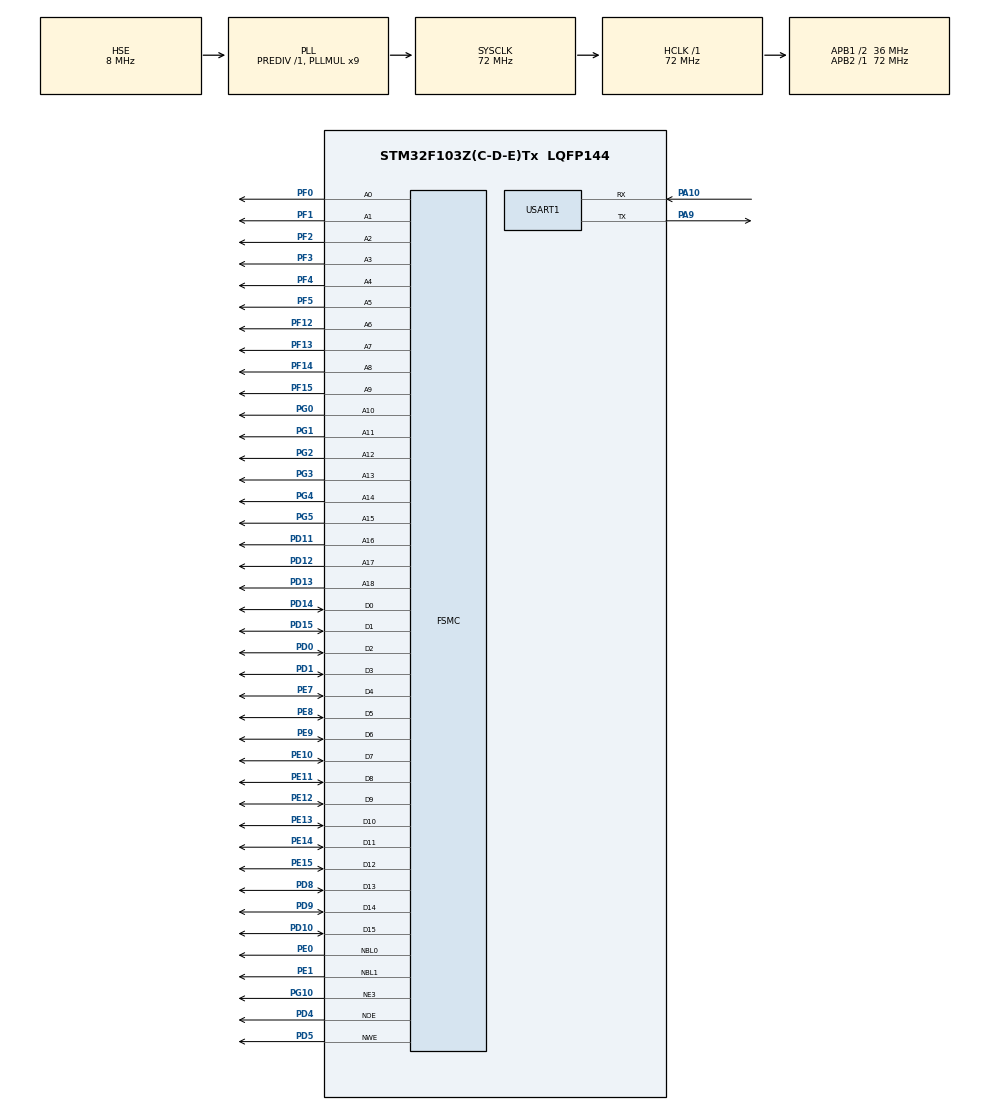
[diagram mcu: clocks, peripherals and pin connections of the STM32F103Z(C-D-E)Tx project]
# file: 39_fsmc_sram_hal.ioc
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FSMC.AddressSetupTime1=0
FSMC.BusTurnAroundDuration1=0
FSMC.DataSetupTime1=71
FSMC.WriteOperation1=FSMC_WRITE_OPERATION_ENABLE
Mcu.Family=STM32F1
Mcu.Name=STM32F103Z(C-D-E)Tx
Mcu.Package=LQFP144
NVIC.PriorityGroup=NVIC_PRIORITYGROUP_4
OSC_IN.Mode=HSE-External-Oscillator
OSC_IN.Signal=RCC_OSC_IN
OSC_OUT.Mode=HSE-External-Oscillator
OSC_OUT.Signal=RCC_OSC_OUT
PA10.Mode=Asynchronous
PA10.Signal=USART1_RX
PA13.Mode=Serial_Wire
PA13.Signal=SYS_JTMS-SWDIO
PA14.Mode=Serial_Wire
PA14.Signal=SYS_JTCK-SWCLK
PA9.Mode=Asynchronous
PA9.Signal=USART1_TX
PC14-OSC32_IN.Mode=LSE-External-Oscillator
PC14-OSC32_IN.Signal=RCC_OSC32_IN
PC15-OSC32_OUT.Mode=LSE-External-Oscillator
PC15-OSC32_OUT.Signal=RCC_OSC32_OUT
PD0.Signal=FSMC_D2_DA2
PD1.Signal=FSMC_D3_DA3
PD10.Signal=FSMC_D15_DA15
PD11.Signal=FSMC_A16_CLE
PD12.Signal=FSMC_A17_ALE
PD13.Signal=FSMC_A18
PD14.Signal=FSMC_D0_DA0
PD15.Signal=FSMC_D1_DA1
PD4.Signal=FSMC_NOE
PD5.Signal=FSMC_NWE
PD8.Signal=FSMC_D13_DA13
PD9.Signal=FSMC_D14_DA14
PE0.Signal=FSMC_NBL0
PE1.Signal=FSMC_NBL1
PE10.Signal=FSMC_D7_DA7
PE11.Signal=FSMC_D8_DA8
PE12.Signal=FSMC_D9_DA9
PE13.Signal=FSMC_D10_DA10
PE14.Signal=FSMC_D11_DA11
PE15.Signal=FSMC_D12_DA12
PE7.Signal=FSMC_D4_DA4
PE8.Signal=FSMC_D5_DA5
PE9.Signal=FSMC_D6_DA6
PF0.Signal=FSMC_A0
PF1.Signal=FSMC_A1
PF12.Signal=FSMC_A6
PF13.Signal=FSMC_A7
PF14.Signal=FSMC_A8
PF15.Signal=FSMC_A9
PF2.Signal=FSMC_A2
PF3.Signal=FSMC_A3
PF4.Signal=FSMC_A4
PF5.Signal=FSMC_A5
PG0.Signal=FSMC_A10
PG1.Signal=FSMC_A11
PG10.Mode=NorPsramChipSelect3_1
PG10.Signal=FSMC_NE3
PG2.Signal=FSMC_A12
PG3.Signal=FSMC_A13
PG4.Signal=FSMC_A14
PG5.Signal=FSMC_A15
ProjectManager.HeapSize=0x200
ProjectManager.StackSize=0x400
ProjectManager.TargetToolchain=MDK-ARM V5.32
RCC.AHBFreq_Value=72000000
RCC.APB1CLKDivider=RCC_HCLK_DIV2
RCC.APB1Freq_Value=36000000
RCC.APB1TimFreq_Value=72000000
RCC.APB2Freq_Value=72000000
RCC.APB2TimFreq_Value=72000000
RCC.HCLKFreq_Value=72000000
RCC.PLLMUL=RCC_PLL_MUL9
RCC.PLLSourceVirtual=RCC_PLLSOURCE_HSE
RCC.SYSCLKFreq_VALUE=72000000
RCC.SYSCLKSource=RCC_SYSCLKSOURCE_PLLCLK
RCC.USBFreq_Value=72000000
SH.FSMC_A0.0=FSMC_A0,19b-a1
SH.FSMC_A1.0=FSMC_A1,19b-a1
SH.FSMC_A10.0=FSMC_A10,19b-a1
SH.FSMC_A11.0=FSMC_A11,19b-a1
SH.FSMC_A12.0=FSMC_A12,19b-a1
SH.FSMC_A13.0=FSMC_A13,19b-a1
SH.FSMC_A14.0=FSMC_A14,19b-a1
SH.FSMC_A15.0=FSMC_A15,19b-a1
SH.FSMC_A16_CLE.0=FSMC_A16,19b-a1
SH.FSMC_A17_ALE.0=FSMC_A17,19b-a1
SH.FSMC_A18.0=FSMC_A18,19b-a1
SH.FSMC_A2.0=FSMC_A2,19b-a1
SH.FSMC_A3.0=FSMC_A3,19b-a1
SH.FSMC_A4.0=FSMC_A4,19b-a1
SH.FSMC_A5.0=FSMC_A5,19b-a1
SH.FSMC_A6.0=FSMC_A6,19b-a1
SH.FSMC_A7.0=FSMC_A7,19b-a1
SH.FSMC_A8.0=FSMC_A8,19b-a1
SH.FSMC_A9.0=FSMC_A9,19b-a1
SH.FSMC_D0_DA0.0=FSMC_D0,16b-d1
SH.FSMC_D10_DA10.0=FSMC_D10,16b-d1
SH.FSMC_D11_DA11.0=FSMC_D11,16b-d1
SH.FSMC_D12_DA12.0=FSMC_D12,16b-d1
SH.FSMC_D13_DA13.0=FSMC_D13,16b-d1
SH.FSMC_D14_DA14.0=FSMC_D14,16b-d1
SH.FSMC_D15_DA15.0=FSMC_D15,16b-d1
SH.FSMC_D1_DA1.0=FSMC_D1,16b-d1
SH.FSMC_D2_DA2.0=FSMC_D2,16b-d1
SH.FSMC_D3_DA3.0=FSMC_D3,16b-d1
SH.FSMC_D4_DA4.0=FSMC_D4,16b-d1
SH.FSMC_D5_DA5.0=FSMC_D5,16b-d1
SH.FSMC_D6_DA6.0=FSMC_D6,16b-d1
SH.FSMC_D7_DA7.0=FSMC_D7,16b-d1
SH.FSMC_D8_DA8.0=FSMC_D8,16b-d1
SH.FSMC_D9_DA9.0=FSMC_D9,16b-d1
SH.FSMC_NBL0.0=FSMC_NBL0,2ByteEnable1
SH.FSMC_NBL1.0=FSMC_NBL1,2ByteEnable1
SH.FSMC_NOE.0=FSMC_NOE,Sram1
SH.FSMC_NWE.0=FSMC_NWE,Sram1
USART1.VirtualMode=VM_ASYNC
board=custom

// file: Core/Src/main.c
/* USER CODE BEGIN Header */
/**
 ******************************************************************************
 * @file           : main.c
 * @brief          : Main program body
 ******************************************************************************
 * @attention
 *
 * Copyright (c) 2024 STMicroelectronics.
 * All rights reserved.
 *
 * This software is licensed under terms that can be found in the LICENSE file
 * in the root directory of this software component.
 * If no LICENSE file comes with this software, it is provided AS-IS.
 *
 ******************************************************************************
 */
/* USER CODE END Header */
#include "main.h"
#include "usart.h"
#include "gpio.h"
#include "fsmc.h"

void SystemClock_Config(void);

/* USER CODE BEGIN 0 */
// 方法一：定义全局变量，指定变量的地址
uint8_t v1 __attribute__((at(0x68000000)));
uint16_t v2 __attribute__((at(0x68000004)));
uint16_t v3 = 30;
/* USER CODE END 0 */

int main(void)
{

  /* MCU Configuration--------------------------------------------------------*/

  /* Reset of all peripherals, Initializes the Flash interface and the Systick. */
  HAL_Init();

  /* Configure the system clock */
  SystemClock_Config();

  /* Initialize all configured peripherals */
  MX_GPIO_Init();
  MX_FSMC_Init();
  MX_USART1_UART_Init();
  /* USER CODE BEGIN 2 */
  printf("Hello world\n");

  // 定义各种变量，打印地址和值
  v1 = 10;
  v2 = 20;
  uint8_t v4 __attribute__((at(0x68000008)));
  v4 = 40;
  uint16_t v5 = 50;

  printf("v1 = %d, @%p\n", v1, &v1);
  printf("v2 = %d, @%p\n", v2, &v2);
  printf("v3 = %d, @%p\n", v3, &v3);
  printf("v4 = %d, @%p\n", v4, &v4);
  printf("v5 = %d, @%p\n", v5, &v5);

  // 方法二：定义指针
  uint8_t *p = (uint8_t *)0x68000001;
  *p = 100;
  printf("*p = %d, @%p, @@%p\n", *p, p, &p);
  /* USER CODE END 2 */

  /* Infinite loop */
  while (1)
  {

  }
}

void SystemClock_Config(void)
{
  RCC_OscInitTypeDef RCC_OscInitStruct = {0};
  RCC_ClkInitTypeDef RCC_ClkInitStruct = {0};

  /** Initializes the RCC Oscillators according to the specified parameters
   * in the RCC_OscInitTypeDef structure.
   */
  RCC_OscInitStruct.OscillatorType = RCC_OSCILLATORTYPE_HSE;
  RCC_OscInitStruct.HSEState = RCC_HSE_ON;
  RCC_OscInitStruct.HSEPredivValue = RCC_HSE_PREDIV_DIV1;
  RCC_OscInitStruct.HSIState = RCC_HSI_ON;
  RCC_OscInitStruct.PLL.PLLState = RCC_PLL_ON;
  RCC_OscInitStruct.PLL.PLLSource = RCC_PLLSOURCE_HSE;
  RCC_OscInitStruct.PLL.PLLMUL = RCC_PLL_MUL9;
  if (HAL_RCC_OscConfig(&RCC_OscInitStruct) != HAL_OK)
  {
    Error_Handler();
  }

  /** Initializes the CPU, AHB and APB buses clocks
   */
  RCC_ClkInitStruct.ClockType = RCC_CLOCKTYPE_HCLK | RCC_CLOCKTYPE_SYSCLK | RCC_CLOCKTYPE_PCLK1 | RCC_CLOCKTYPE_PCLK2;
  RCC_ClkInitStruct.SYSCLKSource = RCC_SYSCLKSOURCE_PLLCLK;
  RCC_ClkInitStruct.AHBCLKDivider = RCC_SYSCLK_DIV1;
  RCC_ClkInitStruct.APB1CLKDivider = RCC_HCLK_DIV2;
  RCC_ClkInitStruct.APB2CLKDivider = RCC_HCLK_DIV1;

  if (HAL_RCC_ClockConfig(&RCC_ClkInitStruct, FLASH_LATENCY_2) != HAL_OK)
  {
    Error_Handler();
  }
}

void Error_Handler(void)
{
  __disable_irq();
  while (1)
  {
  }
}
